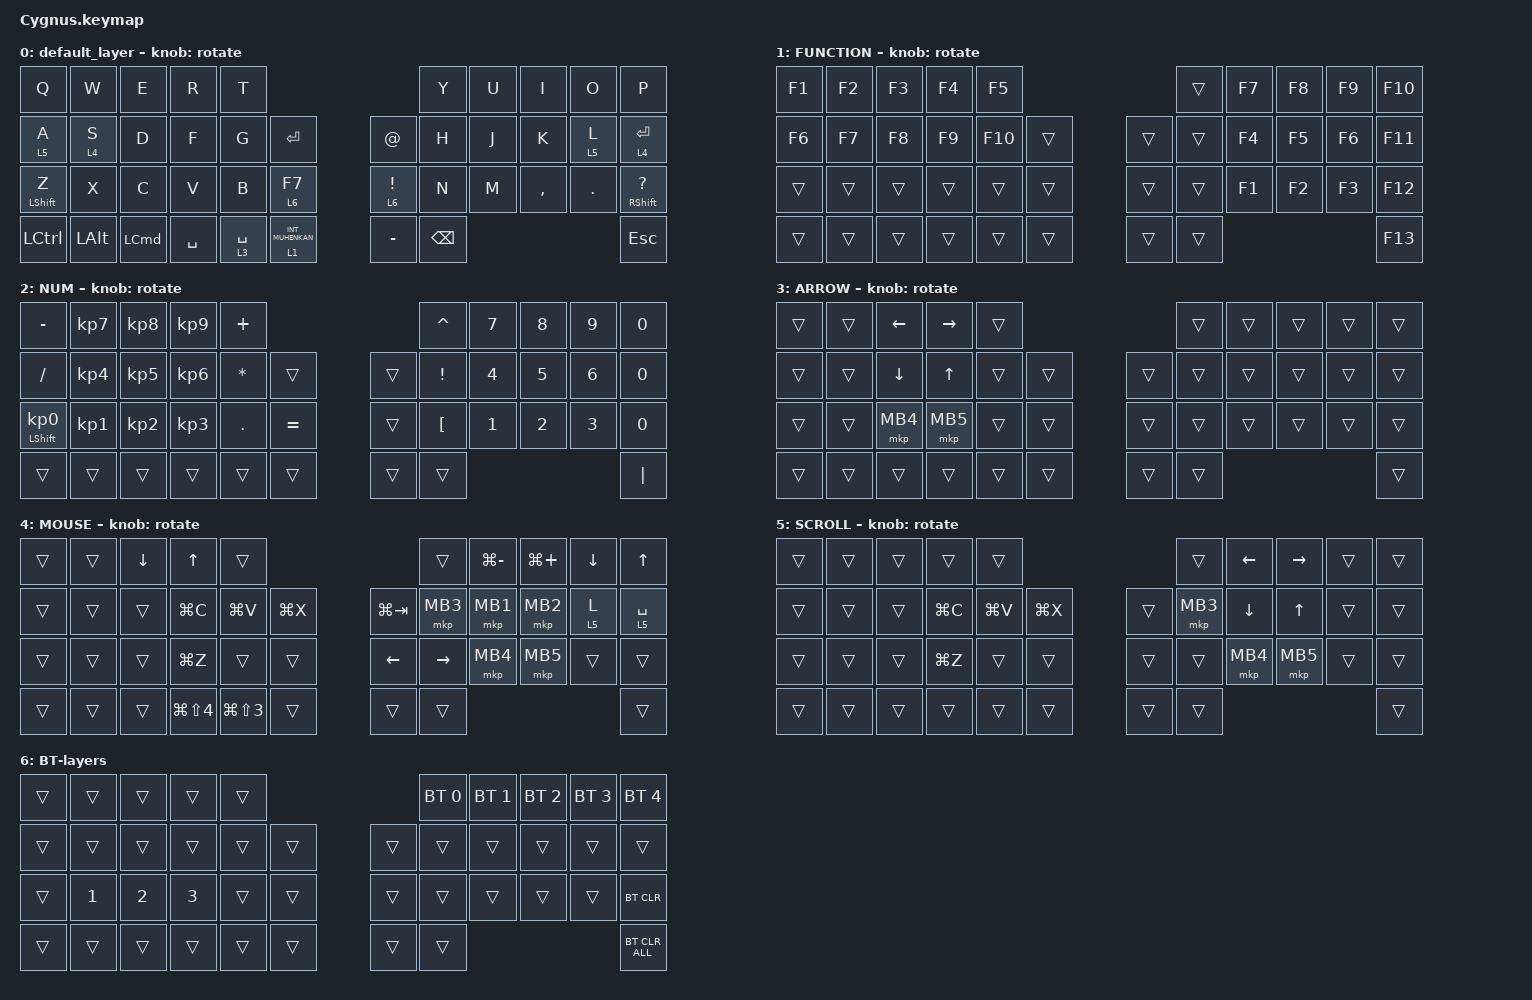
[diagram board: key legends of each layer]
#include <behaviors.dtsi>
#include <dt-bindings/zmk/bt.h>
#include <dt-bindings/zmk/keys.h>
#include <dt-bindings/zmk/pointing.h>

#define ZMK_MOUSE_DEFAULT_SCRL_VAL 25
#define MOUSE 4
#define SCROLL 5
#define NUM 6

&mt {
    flavor = "balanced";
    quick-tap-ms = <0>;
};

/ {
    combos {
        compatible = "zmk,combos";

        caps {
            bindings = <&kp CAPSLOCK>;
            key-positions = <18 13>;
        };

        kasoumigi {
            bindings = <&kp RC(RIGHT)>;
            key-positions = <18 19 20 21>;
        };

        kasouhidari {
            bindings = <&kp RC(LEFT_ARROW)>;
            key-positions = <30 31 32 33>;
        };

        tab {
            bindings = <&kp TAB>;
            key-positions = <21 10>;
        };

        sukusyo {
            bindings = <&none>;
            key-positions = <37 41>;
        };

        Apuriitiran {
            bindings = <&kp LG(LC(J))>;
            key-positions = <41 18>;
        };

        alfled {
            bindings = <&kp LG(SPACE)>;
            key-positions = <17 14>;
        };

        numreiya-modoru {
            bindings = <&lt 2 LG(Z)>;
            key-positions = <12 13>;
        };
    };

    macros {
        to_layer_0: to_layer_0 {
            compatible = "zmk,behavior-macro-one-param";
            #binding-cells = <1>;
            bindings = <&to 0 &macro_param_1to1 &kp MACRO_PLACEHOLDER>;
            label = "TO_LAYER_0";
        };
    };

    behaviors {
        lt_to_layer_0: lt_to_layer_0 {
            compatible = "zmk,behavior-hold-tap";
            label = "LAYER_TAP_TO_0";
            bindings = <&mo>, <&to_layer_0>;

            #binding-cells = <2>;
            tapping-term-ms = <200>;
        };

        rotate: rotate {
            compatible = "zmk,behavior-sensor-rotate";
            label = "ROTATE";
            #sensor-binding-cells = <0>;
            bindings = <&msc SCRL_UP>, <&msc SCRL_DOWN>;

            tap-ms = <20>;
        };
    };

    keymap {
        compatible = "zmk,keymap";

        default_layer {
            bindings = <
&kp Q             &kp W         &kp E             &kp R      &kp T                                                        &kp Y          &kp U  &kp I      &kp O       &kp P
&lt 5 A           &lt 4 S       &kp D             &kp F      &kp G        &kp RETURN                         &kp AT_SIGN  &kp H          &kp J  &kp K      &lt 5 L     &lt 4 RET
&mt LEFT_SHIFT Z  &kp X         &kp C             &kp V      &kp B        &lt 6 F7                           &lt 6 EXCL   &kp N          &kp M  &kp COMMA  &kp PERIOD  &mt RIGHT_SHIFT QMARK
&kp LCTRL         &kp LEFT_ALT  &kp LEFT_COMMAND  &kp SPACE  &lt 3 SPACE  &lt_to_layer_0 1 INT_MUHENKAN      &kp MINUS    &kp BACKSPACE                                &kp ESC
            >;

            sensor-bindings = <&rotate>;
        };

        FUNCTION {
            bindings = <
&kp F1  &kp F2  &kp F3  &kp F4  &kp F5                       &trans  &kp F7  &kp F8  &kp F9  &kp F10
&kp F6  &kp F7  &kp F8  &kp F9  &kp F10  &trans      &trans  &trans  &kp F4  &kp F5  &kp F6  &kp F11
&trans  &trans  &trans  &trans  &trans   &trans      &trans  &trans  &kp F1  &kp F2  &kp F3  &kp F12
&trans  &trans  &trans  &trans  &trans   &trans      &trans  &trans                          &kp F13
            >;

            sensor-bindings = <&rotate>;
        };

        NUM {
            bindings = <
&kp MINUS                   &kp KP_NUMBER_7  &kp KP_NUMBER_8  &kp KP_NUMBER_9  &kp PLUS                             &kp CARET         &kp N7        &kp N8        &kp N9        &kp N0
&kp SLASH                   &kp KP_NUMBER_4  &kp KP_NUMBER_5  &kp KP_NUMBER_6  &kp ASTERISK  &trans         &trans  &kp EXCLAMATION   &kp NUMBER_4  &kp N5        &kp NUMBER_6  &kp N0
&mt LEFT_SHIFT KP_NUMBER_0  &kp KP_NUMBER_1  &kp KP_NUMBER_2  &kp KP_NUMBER_3  &kp PERIOD    &kp EQUAL      &trans  &kp LEFT_BRACKET  &kp NUMBER_1  &kp NUMBER_2  &kp NUMBER_3  &kp N0
&trans                      &trans           &trans           &trans           &trans        &trans         &trans  &trans                                                      &kp PIPE
            >;

            sensor-bindings = <&rotate>;
        };

        ARROW {
            bindings = <
&trans  &trans  &kp LEFT_ARROW  &kp RIGHT_ARROW  &trans                      &trans  &trans  &trans  &trans  &trans
&trans  &trans  &kp DOWN_ARROW  &kp UP_ARROW     &trans  &trans      &trans  &trans  &trans  &trans  &trans  &trans
&trans  &trans  &mkp MB4        &mkp MB5         &trans  &trans      &trans  &trans  &trans  &trans  &trans  &trans
&trans  &trans  &trans          &trans           &trans  &trans      &trans  &trans                          &trans
            >;

            sensor-bindings = <&rotate>;
        };

        MOUSE {
            bindings = <
&trans  &trans  &kp DOWN_ARROW  &kp UP_ARROW          &trans                                               &trans           &kp LG(MINUS)  &kp LG(PLUS)  &kp DOWN_ARROW  &kp UP_ARROW
&trans  &trans  &trans          &kp LG(C)             &kp LG(V)             &kp LG(X)      &kp LG(TAB)     &mkp MB3         &mkp MB1       &mkp MB2      &lt 5 L         &lt 5 SPACE
&trans  &trans  &trans          &kp LG(Z)             &trans                &trans         &kp LEFT_ARROW  &kp RIGHT_ARROW  &mkp MB4       &mkp MB5      &trans          &trans
&trans  &trans  &trans          &kp LG(LS(NUMBER_4))  &kp LG(LS(NUMBER_3))  &trans         &trans          &trans                                                        &trans
            >;

            sensor-bindings = <&rotate>;
        };

        SCROLL {
            bindings = <
&trans  &trans  &trans  &trans     &trans                            &trans    &kp LEFT_ARROW  &kp RIGHT     &trans  &trans
&trans  &trans  &trans  &kp LG(C)  &kp LG(V)  &kp LG(X)      &trans  &mkp MB3  &kp DOWN_ARROW  &kp UP_ARROW  &trans  &trans
&trans  &trans  &trans  &kp LG(Z)  &trans     &trans         &trans  &trans    &mkp MB4        &mkp MB5      &trans  &trans
&trans  &trans  &trans  &trans     &trans     &trans         &trans  &trans                                          &trans
            >;

            sensor-bindings = <&rotate>;
        };

        BT-layers {
            bindings = <
&trans  &trans        &trans        &trans        &trans                      &bt BT_SEL 0  &bt BT_SEL 1  &bt BT_SEL 2  &bt BT_SEL 3  &bt BT_SEL 4
&trans  &trans        &trans        &trans        &trans  &trans      &trans  &trans        &trans        &trans        &trans        &trans
&trans  &kp NUMBER_1  &kp NUMBER_2  &kp NUMBER_3  &trans  &trans      &trans  &trans        &trans        &trans        &trans        &bt BT_CLR
&trans  &trans        &trans        &trans        &trans  &trans      &trans  &trans                                                  &bt BT_CLR_ALL
            >;
        };
    };
};
